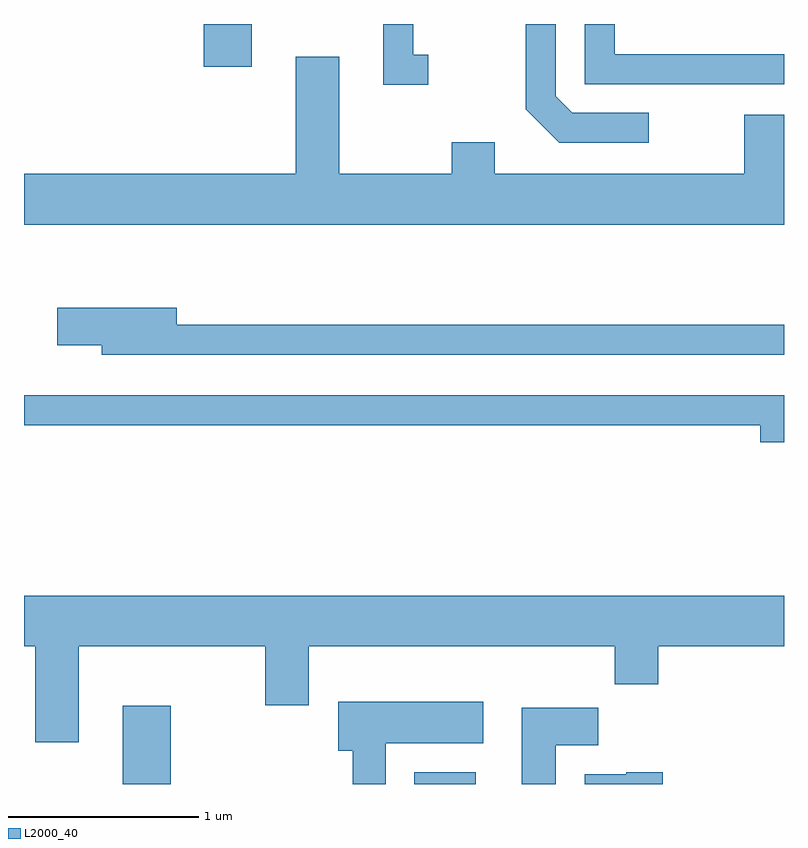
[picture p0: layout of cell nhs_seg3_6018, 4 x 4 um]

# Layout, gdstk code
import gdstk
lib = gdstk.Library(unit=1e-6, precision=1e-09)
def R(c, l, rs):  # rectangles x0, y0, x1, y1
    for r in rs: c.add(gdstk.rectangle(r[:2], r[2:], *l))
def P(c, l, *ps):  # polygons
    for p in ps: c.add(gdstk.Polygon(p, *l))
L2000_40 = (2000, 40)

nhs_seg3_6018 = lib.new_cell('nhs_seg3_6018')
R(nhs_seg3_6018, L2000_40, [(362.131,1191.892,362.384,1192.304), (363.666,1191.892,363.989,1191.954), (362.556,1195.666,362.809,1195.892)])
P(nhs_seg3_6018, L2000_40, [(365.611,1195.734),(364.719,1195.734),(364.719,1195.892),(364.561,1195.892),(364.561,1195.576),(365.611,1195.576)],
  [(363.738,1195.729),(363.659,1195.729),(363.659,1195.892),(363.501,1195.892),(363.501,1195.571),(363.738,1195.571)],
  [(364.898,1195.424),(364.497,1195.424),(364.409,1195.512),(364.409,1195.892),(364.251,1195.892),(364.251,1195.444),(364.429,1195.266),(364.898,1195.266)],
  [(365.611,1195.414),(365.401,1195.414),(365.401,1195.104),(364.089,1195.104),(364.089,1195.269),(363.861,1195.269),(363.861,1195.104),(363.269,1195.104),(363.269,1195.719),(363.041,1195.719),(363.041,1195.104),(361.611,1195.104),(361.611,1194.836),(365.611,1194.836)],
  [(365.611,1194.309),(362.414,1194.309),(362.414,1194.399),(361.786,1194.399),(361.786,1194.201),(362.021,1194.201),(362.021,1194.151),(365.611,1194.151)],
  [(365.611,1193.939),(361.611,1193.939),(361.611,1193.781),(365.486,1193.781),(365.486,1193.691),(365.611,1193.691)],
  [(361.899,1192.616),(362.881,1192.616),(362.881,1192.306),(363.109,1192.306),(363.109,1192.616),(364.721,1192.616),(364.721,1192.416),(364.949,1192.416),(364.949,1192.616),(365.611,1192.616),(365.611,1192.884),(361.611,1192.884),(361.611,1192.616),(361.671,1192.616),(361.671,1192.111),(361.899,1192.111)],
  [(363.514,1192.106),(364.029,1192.106),(364.029,1192.324),(363.266,1192.324),(363.266,1192.066),(363.341,1192.066),(363.341,1191.892),(363.514,1191.892)],
  [(364.409,1192.096),(364.634,1192.096),(364.634,1192.294),(364.231,1192.294),(364.231,1191.892),(364.409,1191.892)],
  [(364.974,1191.954),(364.78,1191.954),(364.78,1191.944),(364.561,1191.944),(364.561,1191.892),(364.974,1191.892)])

lib.write_gds('nhs_seg3_6018.gds')
